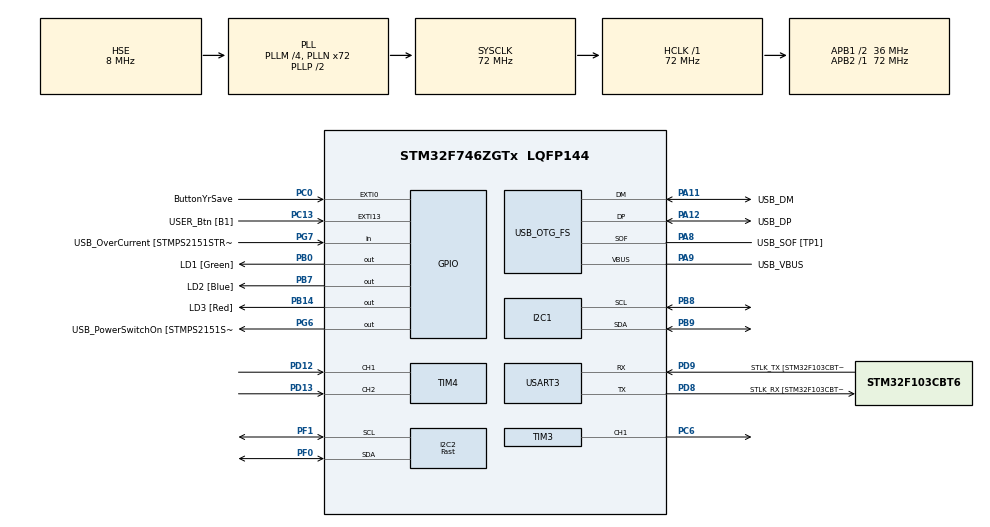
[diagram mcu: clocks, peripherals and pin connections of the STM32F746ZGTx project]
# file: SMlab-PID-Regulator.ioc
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Dma.I2C2_TX.0.Direction=DMA_MEMORY_TO_PERIPH
Dma.I2C2_TX.0.FIFOMode=DMA_FIFOMODE_DISABLE
Dma.I2C2_TX.0.Instance=DMA1_Stream7
Dma.I2C2_TX.0.MemDataAlignment=DMA_MDATAALIGN_BYTE
Dma.I2C2_TX.0.MemInc=DMA_MINC_ENABLE
Dma.I2C2_TX.0.Mode=DMA_NORMAL
Dma.I2C2_TX.0.PeriphDataAlignment=DMA_PDATAALIGN_BYTE
Dma.I2C2_TX.0.PeriphInc=DMA_PINC_DISABLE
Dma.I2C2_TX.0.Priority=DMA_PRIORITY_LOW
Dma.Request0=I2C2_TX
I2C1.Timing=0x00808CD2
I2C2.I2C_Speed_Mode=I2C_Fast
I2C2.Timing=0x00301739
Mcu.Family=STM32F7
Mcu.Name=STM32F746ZGTx
Mcu.Package=LQFP144
NVIC.DMA1_Stream7_IRQn=true\:1\:0\:true\:false\:true\:false\:true\:true
NVIC.EXTI0_IRQn=true\:5\:0\:true\:false\:true\:true\:true\:true
NVIC.EXTI15_10_IRQn=true\:0\:0\:false\:false\:true\:true\:true\:true
NVIC.I2C2_EV_IRQn=true\:2\:0\:true\:false\:true\:true\:true\:true
NVIC.PriorityGroup=NVIC_PRIORITYGROUP_4
NVIC.TIM3_IRQn=true\:0\:0\:false\:false\:true\:true\:true\:true
NVIC.TIM4_IRQn=true\:0\:0\:false\:false\:true\:true\:true\:true
NVIC.TIM7_IRQn=true\:0\:0\:false\:false\:true\:true\:true\:true
NVIC.USART3_IRQn=true\:1\:0\:true\:false\:true\:true\:true\:true
PA1.GPIO_Label=RMII_REF_CLK [LAN8742A-CZ-TR_REFCLK0]
PA1.Signal=ETH_REF_CLK
PA10.GPIO_Label=USB_ID
PA10.Signal=USB_OTG_FS_ID
PA11.GPIO_Label=USB_DM
PA11.Mode=Device_Only
PA11.Signal=USB_OTG_FS_DM
PA12.GPIO_Label=USB_DP
PA12.Mode=Device_Only
PA12.Signal=USB_OTG_FS_DP
PA13.GPIO_Label=TMS
PA13.Mode=Serial_Wire
PA13.Signal=SYS_JTMS-SWDIO
PA14.GPIO_Label=TCK
PA14.Mode=Serial_Wire
PA14.Signal=SYS_JTCK-SWCLK
PA2.GPIO_Label=RMII_MDIO [LAN8742A-CZ-TR_MDIO]
PA2.Signal=ETH_MDIO
PA7.GPIO_Label=RMII_CRS_DV [LAN8742A-CZ-TR_CRS_DV]
PA7.Signal=ETH_CRS_DV
PA8.GPIO_Label=USB_SOF [TP1]
PA8.Mode=Activate_SOF_FS
PA8.Signal=USB_OTG_FS_SOF
PA9.GPIO_Label=USB_VBUS
PA9.Mode=Activate_VBUS
PA9.Signal=USB_OTG_FS_VBUS
PB0.GPIO_Label=LD1 [Green]
PB0.Signal=GPIO_Output
PB13.GPIO_Label=RMII_TXD1 [LAN8742A-CZ-TR_TXD1]
PB13.Signal=ETH_TXD1
PB14.GPIO_Label=LD3 [Red]
PB14.Signal=GPIO_Output
PB3.GPIO_Label=SW0
PB3.Signal=SYS_JTDO-SWO
PB7.GPIO_Label=LD2 [Blue]
PB7.Signal=GPIO_Output
PB8.GPIO_Pu=GPIO_PULLUP
PB8.Mode=I2C
PB8.Signal=I2C1_SCL
PB9.GPIO_Pu=GPIO_PULLUP
PB9.Mode=I2C
PB9.Signal=I2C1_SDA
PC0.GPIO_Label=ButtonYrSave
PC0.GPIO_PuPd=GPIO_PULLDOWN
PC0.Signal=GPXTI0
PC1.GPIO_Label=RMII_MDC [LAN8742A-CZ-TR_MDC]
PC1.Signal=ETH_MDC
PC13.GPIO_Label=USER_Btn [B1]
PC13.Signal=GPXTI13
PC14/OSC32_IN.Mode=LSE-External-Oscillator
PC14/OSC32_IN.Signal=RCC_OSC32_IN
PC15/OSC32_OUT.Mode=LSE-External-Oscillator
PC15/OSC32_OUT.Signal=RCC_OSC32_OUT
PC4.GPIO_Label=RMII_RXD0 [LAN8742A-CZ-TR_RXD0]
PC4.Signal=ETH_RXD0
PC5.GPIO_Label=RMII_RXD1 [LAN8742A-CZ-TR_RXD1]
PC5.Signal=ETH_RXD1
PC6.GPIO_ModeDefaultPP=GPIO_MODE_AF_PP
PC6.GPIO_PuPd=GPIO_NOPULL
PC6.Signal=S_TIM3_CH1
PD12.GPIO_PuPd=GPIO_PULLUP
PD12.Signal=S_TIM4_CH1
PD13.GPIO_PuPd=GPIO_PULLUP
PD13.Signal=S_TIM4_CH2
PD8.GPIO_Label=STLK_RX [STM32F103CBT6_PA3]
PD8.GPIO_PuPd=GPIO_PULLUP
PD8.Mode=Asynchronous
PD8.Signal=USART3_TX
PD9.GPIO_Label=STLK_TX [STM32F103CBT6_PA2]
PD9.GPIO_PuPd=GPIO_PULLUP
PD9.Mode=Asynchronous
PD9.Signal=USART3_RX
PF0.Mode=I2C
PF0.Signal=I2C2_SDA
PF1.Mode=I2C
PF1.Signal=I2C2_SCL
PG11.GPIO_Label=RMII_TX_EN [LAN8742A-CZ-TR_TXEN]
PG11.Signal=ETH_TX_EN
PG13.GPIO_Label=RMII_TXD0 [LAN8742A-CZ-TR_TXD0]
PG13.Signal=ETH_TXD0
PG6.GPIO_Label=USB_PowerSwitchOn [STMPS2151STR_EN]
PG6.Signal=GPIO_Output
PG7.GPIO_Label=USB_OverCurrent [STMPS2151STR_FAULT]
PG7.Signal=GPIO_Input
PH0/OSC_IN.GPIO_Label=MCO [STM32F103CBT6_PA8]
PH0/OSC_IN.Mode=HSE-External-Oscillator
PH0/OSC_IN.Signal=RCC_OSC_IN
PH1/OSC_OUT.Mode=HSE-External-Oscillator
PH1/OSC_OUT.Signal=RCC_OSC_OUT
ProjectManager.HeapSize=0x200
ProjectManager.StackSize=0x400
ProjectManager.TargetToolchain=STM32CubeIDE
RCC.48MHZClocksFreq_Value=24000000
RCC.AHBFreq_Value=72000000
RCC.APB1CLKDivider=RCC_HCLK_DIV2
RCC.APB1Freq_Value=36000000
RCC.APB1TimFreq_Value=72000000
RCC.APB2Freq_Value=72000000
RCC.APB2TimFreq_Value=72000000
RCC.CortexFreq_Value=72000000
RCC.HCLKFreq_Value=72000000
RCC.HSE_VALUE=8000000
RCC.HSI_VALUE=16000000
RCC.PLLM=4
RCC.PLLMUL=RCC_PLL_MUL9
RCC.PLLN=72
RCC.PLLQ=3
RCC.PRESCALERUSB=RCC_USBCLKSOURCE_PLL_DIV1_5
RCC.SYSCLKFreq_VALUE=72000000
RCC.SYSCLKSource=RCC_SYSCLKSOURCE_PLLCLK
RCC.SYSCLKSourceVirtual=RCC_SYSCLKSOURCE_PLLCLK
RCC.USBFreq_Value=48000000
RCC.VCOOutputFreq_Value=144000000
SH.S_TIM3_CH1.0=TIM3_CH1,PWM Generation1 CH1
SH.S_TIM4_CH1.0=TIM4_CH1,Encoder_Interface
SH.S_TIM4_CH2.0=TIM4_CH2,Encoder_Interface
TIM3.AutoReloadPreload=TIM_AUTORELOAD_PRELOAD_ENABLE
TIM3.Channel-PWM\ Generation1\ CH1=TIM_CHANNEL_1
TIM3.Period=999
TIM3.Prescaler=71
TIM4.EncoderMode=TIM_ENCODERMODE_TI12
TIM4.IC1Filter=3
TIM4.IC1Polarity=TIM_ICPOLARITY_FALLING
TIM4.IC2Filter=3
TIM4.IC2Polarity=TIM_ICPOLARITY_FALLING
TIM7.AutoReloadPreload=TIM_AUTORELOAD_PRELOAD_ENABLE
TIM7.Period=7199
TIM7.Prescaler=999
USART3.VirtualMode-Asynchronous=VM_ASYNC
USB_OTG_FS.VirtualMode=Device_Only
VP_TIM3_VS_ClockSourceINT.Mode=Internal
VP_TIM7_VS_ClockSourceINT.Mode=Enable_Timer
board=NUCLEO-F746ZG

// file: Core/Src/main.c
/* USER CODE BEGIN Header */
/**
  ******************************************************************************
  * @file           : main.c
  * @brief          : Main program body
  ******************************************************************************
  * @attention
  *
  * Copyright (c) 2024 STMicroelectronics.
  * All rights reserved.
  *
  * This software is licensed under terms that can be found in the LICENSE file
  * in the root directory of this software component.
  * If no LICENSE file comes with this software, it is provided AS-IS.
  *
  ******************************************************************************
  */
/* USER CODE END Header */
#include "main.h"
#include "dma.h"
#include "i2c.h"
#include "tim.h"
#include "usart.h"
#include "usb_otg.h"
#include "gpio.h"

/* USER CODE BEGIN Includes */
#include <stdio.h>
#include <string.h>
#include "main_regulator.h"  // regulator
#include "bme280_add.h"  // czujnik temperatury
#include "bme280_defs.h"
#include "GFX.h"  // wyswietlacz
/* USER CODE END Includes */

/* USER CODE BEGIN PTD */
typedef enum {
	PWM_OFF = 0,  // PWM jest wylaczony (przy wysokiej temperaturze)
	PWM_ON = 1    // PWM jest wlaczony
} PwmState ;

typedef enum {
	REGULATOR_OFF = 0,  // regulator jest wylaczony (przy starcie)
	REGULATOR_ON = 1    // regulator jest wlaczony (klikniecie USER_Btn)
} RegulatorState ;

/* USER CODE END PTD */

/* USER CODE BEGIN PM */
#define MSGLEN 6
#define MAXTEMPERATURE 60.0  // czujnik (-40, 80)
#define REGULATOR_DT 0.1 // w sekundach 72MHz/(7200*1000) -> 10Hz
#define outputMax 10.0
#define outputMin 0.0
#define SetValMax 80
#define SetValMin 0

/* USER CODE END PM */

/* USER CODE BEGIN PV */
PID_TypeDef pid;           // Struktura regulatora PID
uint8_t setpoint_tem = 30; // setpoint (-128 to 127)
uint8_t prep_setpoint_tem = 30;
float temperature = 99.9;  // wartosc mierzona
double regulator_output = 0.0;  // Wyjscie regulatora PID
double u_sat = 0;  // wyjscie po saturacji
uint16_t pwm_output = 0.0;    // Wyjscie regulatora PID pwm

PwmState pwm_state = PWM_ON;  // poczatkowo PWM wlaczone
RegulatorState regulator_state = REGULATOR_OFF;  // poczatkowo regulator wylaczony
int8_t oledScreen = 0;  // 0-temperatura, 1-Set Value, 2-PWM signal [%]
uint8_t rx_data[MSGLEN];
uint32_t enkoder_count = 0;
/* USER CODE END PV */

void SystemClock_Config(void);
/* USER CODE BEGIN PFP */
void Oled_screen_update(void);

/* USER CODE END PFP */

/* USER CODE BEGIN 0 */
void Oled_screen_update(void){
	char temp_str[20];
	switch (oledScreen) {
		case 0:  // temperatura
	  	sprintf(temp_str, "%.1f\321C", temperature);
			break;
		case 1:  // Set Value
			if(setpoint_tem != prep_setpoint_tem){
	  		if(setpoint_tem<10){
		  		sprintf(temp_str, "SV %d\321C", (int8_t)prep_setpoint_tem);
	  		}
	  		else if(setpoint_tem<=100){
		  		sprintf(temp_str, "SV%d\321C", (int8_t)prep_setpoint_tem);
	  		}
			}
			else if(setpoint_tem<10){
	  		sprintf(temp_str, "SV %d\321C", (int8_t)setpoint_tem);
			}
			else if(setpoint_tem<=100){
	  		sprintf(temp_str, "SV%d\321C", (int8_t)setpoint_tem);
			}
			break;
		case 2:  // PWM signal [%]
			if(pwm_output/10<10){
				sprintf(temp_str, "U\317\317\317%d\320", pwm_output/10);
			}
			else if(pwm_output/10>=100){
				sprintf(temp_str, "U\317%d\320", pwm_output/10);
			}
			else{
				sprintf(temp_str, "U\317\317%d\320", pwm_output/10);
			}
			break;
		default:  // temperatura
	  	sprintf(temp_str, "%hhn", rx_data);
			break;
	}
	if(pwm_state == PWM_OFF){
		strcpy(temp_str, "ERRORR");  // przegrzanie
	}

	if(setpoint_tem != prep_setpoint_tem && oledScreen == 1){
		GFX_draw_fill_rect(0, 0, 128, 32, WHITE);
		GFX_draw_string(5, 0, (unsigned char *)temp_str, BLACK, WHITE, 3, 3);
		SSD1306_display_repaint();
	}
	else{
		GFX_draw_fill_rect(0, 0, 128, 32, BLACK);
		GFX_draw_string(5, 0, (unsigned char *)temp_str, WHITE, BLACK, 3, 3);
		SSD1306_display_repaint();
	}
}

/* USER CODE END 0 */

int main(void)
{

  /* MCU Configuration--------------------------------------------------------*/

  /* Reset of all peripherals, Initializes the Flash interface and the Systick. */
  HAL_Init();

  /* Configure the system clock */
  SystemClock_Config();

  /* Initialize all configured peripherals */
  MX_GPIO_Init();
  MX_DMA_Init();
  MX_I2C1_Init();
  MX_USART3_UART_Init();
  MX_USB_OTG_FS_PCD_Init();
  MX_I2C2_Init();
  MX_TIM3_Init();
  MX_TIM7_Init();
  MX_TIM4_Init();
  /* USER CODE BEGIN 2 */
  // Inicjalizacja PID
  //PI_Init(&pid, 1.2, 0.004, 0.0, outputMin, outputMax, REGULATOR_DT);  // PI Kp, Ki, Kd, Min, Max, dt
  PID_Init(&pid, 1.4, 0.02, 8.0, outputMin, outputMax, REGULATOR_DT);  // PID Kp, Ki, Kd, Min, Max, dt

  // Timers Interrupt
  HAL_TIM_Base_Start_IT(&htim3);
  HAL_TIM_PWM_Start(&htim3, TIM_CHANNEL_1);
  HAL_TIM_Encoder_Start_IT(&htim4, TIM_CHANNEL_ALL);
  HAL_TIM_Base_Start_IT(&htim7);

  // UART Interrupt
  HAL_UART_Receive_IT(&huart3, rx_data, 6);

  // Inicjalizacja czujnika BME280
  if(BME280_init() != BME280_OK) {
	  printf("Error: Temperature sensor initialization failed!\n");
  }

  // Inicjalizacja wyswietlacza OLED
  if (SSD1306_init() != TRUE) {
    printf("Error: OLED initialization failed!\n");
  }
  /* USER CODE END 2 */

  /* Infinite loop */
  while (1)
  {

  }
}

void SystemClock_Config(void)
{
  RCC_OscInitTypeDef RCC_OscInitStruct = {0};
  RCC_ClkInitTypeDef RCC_ClkInitStruct = {0};

  /** Configure LSE Drive Capability
  */
  HAL_PWR_EnableBkUpAccess();

  /** Configure the main internal regulator output voltage
  */
  __HAL_RCC_PWR_CLK_ENABLE();
  __HAL_PWR_VOLTAGESCALING_CONFIG(PWR_REGULATOR_VOLTAGE_SCALE3);

  /** Initializes the RCC Oscillators according to the specified parameters
  * in the RCC_OscInitTypeDef structure.
  */
  RCC_OscInitStruct.OscillatorType = RCC_OSCILLATORTYPE_HSE;
  RCC_OscInitStruct.HSEState = RCC_HSE_ON;
  RCC_OscInitStruct.PLL.PLLState = RCC_PLL_ON;
  RCC_OscInitStruct.PLL.PLLSource = RCC_PLLSOURCE_HSE;
  RCC_OscInitStruct.PLL.PLLM = 4;
  RCC_OscInitStruct.PLL.PLLN = 72;
  RCC_OscInitStruct.PLL.PLLP = RCC_PLLP_DIV2;
  RCC_OscInitStruct.PLL.PLLQ = 3;
  if (HAL_RCC_OscConfig(&RCC_OscInitStruct) != HAL_OK)
  {
    Error_Handler();
  }

  /** Initializes the CPU, AHB and APB buses clocks
  */
  RCC_ClkInitStruct.ClockType = RCC_CLOCKTYPE_HCLK|RCC_CLOCKTYPE_SYSCLK
                              |RCC_CLOCKTYPE_PCLK1|RCC_CLOCKTYPE_PCLK2;
  RCC_ClkInitStruct.SYSCLKSource = RCC_SYSCLKSOURCE_PLLCLK;
  RCC_ClkInitStruct.AHBCLKDivider = RCC_SYSCLK_DIV1;
  RCC_ClkInitStruct.APB1CLKDivider = RCC_HCLK_DIV2;
  RCC_ClkInitStruct.APB2CLKDivider = RCC_HCLK_DIV1;

  if (HAL_RCC_ClockConfig(&RCC_ClkInitStruct, FLASH_LATENCY_2) != HAL_OK)
  {
    Error_Handler();
  }
}

/* USER CODE BEGIN 4 */
void HAL_TIM_PeriodElapsedCallback(TIM_HandleTypeDef* htim){
	// Real-time regulator
	if(htim->Instance == TIM7){
		HAL_GPIO_TogglePin(GPIOB, GPIO_PIN_14);  // LED3

    // 1. Aktualizacja temperatury
		temperature = BME280_read_temperature();  // measurements with constant Ts

    // 2. Obliczanie wyjscia regulatora
		if(regulator_state){
			//regulator_output = PI_Compute(&pid, setpoint_tem, temperature);  // anty wind-up
			regulator_output = PID_Compute(&pid, setpoint_tem, temperature);  // anty wind-up
			u_sat = saturation(regulator_output, outputMin, outputMax);
			pwm_output = (uint16_t)(u_sat*100); // 0...1000

      // 3. Wyłączenie PWM w przypadku przegrzania
			if(temperature >= MAXTEMPERATURE){  // restartowanie tylko poprzez USER_restart B2
				pwm_state = PWM_OFF;  // ustawia sygnal sterujacy na 0
			}

      // 4. Aktualizacja PWM
			__HAL_TIM_SET_COMPARE(&htim3, TIM_CHANNEL_1, pwm_output * pwm_state);
		}

    // 5. Aktualizacja ekranu
		Oled_screen_update();

		printf("%.2f, %.2f, %u\r\n", temperature, u_sat, pwm_output);
	}

}

void HAL_GPIO_EXTI_Callback(uint16_t GPIO_Pin){
	HAL_GPIO_TogglePin(GPIOB, GPIO_PIN_7);  //LED2
  if(GPIO_Pin == USER_Btn_Pin){
	  // przelaczanie wyswietlacza USER_Btn
	  // 0-temperatura, 1-Set Value, 2-PWM signal [%]
	  if(oledScreen>=0 && oledScreen<2){
	  	oledScreen++;
	  }
	  else{
	  	oledScreen = 0;
	  }
  }
  // zatwierdzenie wartosci zadanej i zalaczenie regulatora
  if(GPIO_Pin == ButtonYrSave_Pin){
  	regulator_state = REGULATOR_ON;
  	setpoint_tem = prep_setpoint_tem;
  }
}

void HAL_TIM_IC_CaptureCallback(TIM_HandleTypeDef *htim){
	if (htim->Instance == TIM4){
		uint16_t previous_encoder_count = 0;
		previous_encoder_count = enkoder_count;
		enkoder_count = __HAL_TIM_GET_COUNTER(&htim4);

    // Obliczenie różnicy (delta) z uwzględnieniem przepełnienia
    int16_t delta = (int16_t)(enkoder_count - previous_encoder_count);

    // Aktualizacja wartości zadanej w zależności od delta
    if (delta > 0) {
    		prep_setpoint_tem += 1; // Ruch do przodu zwiększa wartość
    } else if (delta < 0) {
    		prep_setpoint_tem -= 1; // Ruch do tyłu zmniejsza wartość
    }

    // Opcjonalnie: Ograniczenie zakresu setpoint_tem
    if (prep_setpoint_tem > SetValMax) {
    		prep_setpoint_tem = SetValMax;
    } else if (prep_setpoint_tem < SetValMin) {
    		prep_setpoint_tem = SetValMin;
    }
	}
}

void HAL_UART_RxCpltCallback(UART_HandleTypeDef *huart){
	// ustawianie wartosci zadanej temperatury yr (0-80C)
	if(huart->Instance == USART3){
		int value = atoi((char*)rx_data);  // Konwersja ASCII na liczbę
		if(value>=SetValMin && value<=SetValMax){
		  setpoint_tem = value;
		}
		memset(rx_data, 0, sizeof(rx_data));
		HAL_UART_Receive_IT(&huart3, rx_data, MSGLEN);
	}
}

/* USER CODE END 4 */

void Error_Handler(void)
{
  __disable_irq();
  while (1)
  {
  }
}
